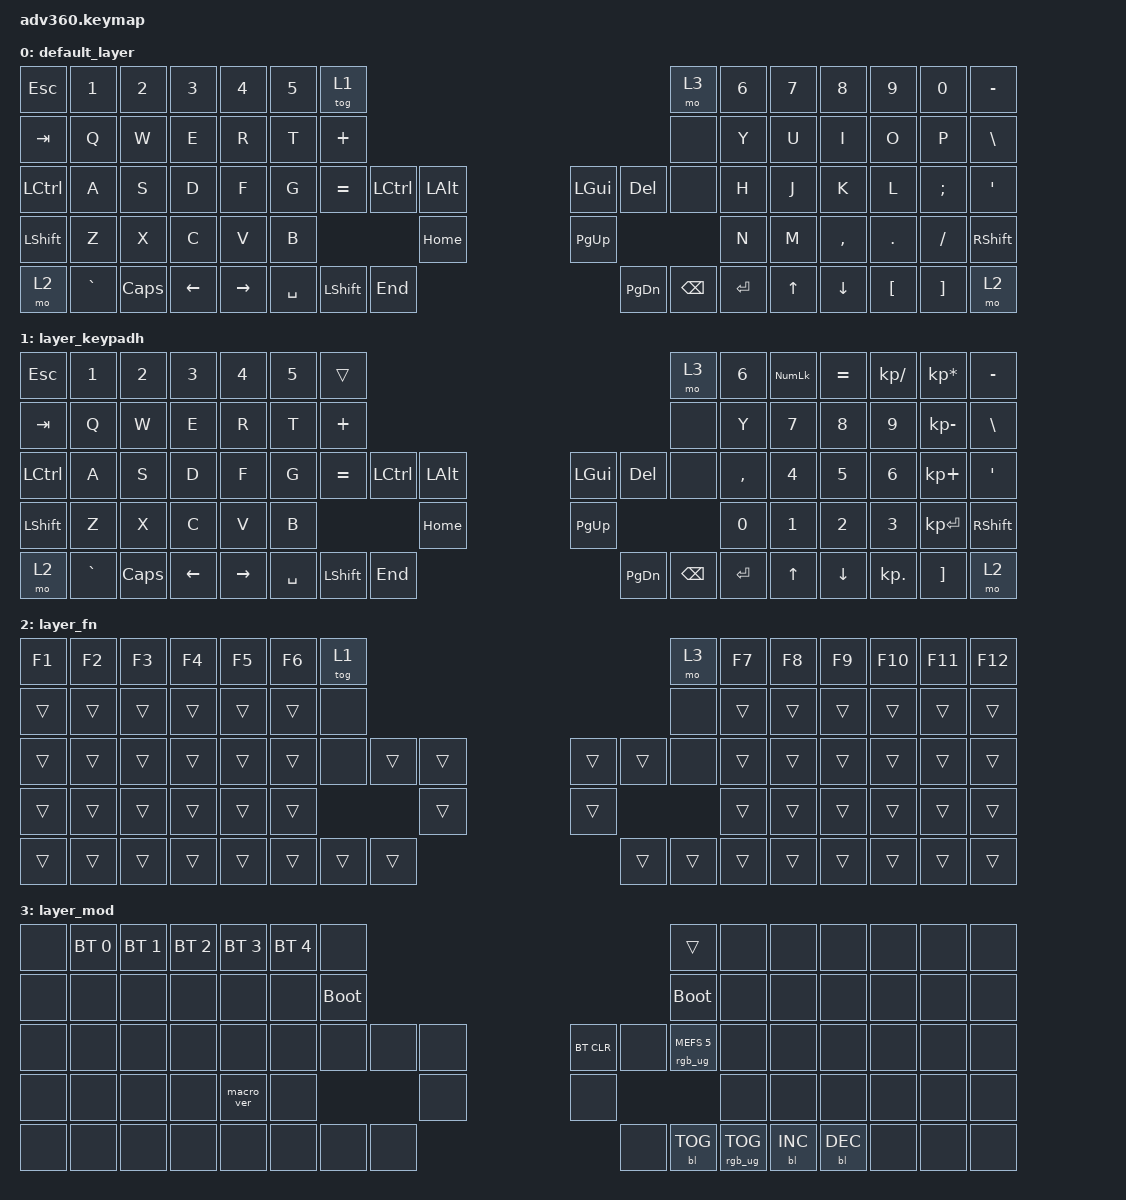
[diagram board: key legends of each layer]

/*
 * Copyright (c) 2020 The ZMK Contributors
 *
 * SPDX-License-Identifier: MIT
 */


/* THIS FILE WAS GENERATED!
 *
 * This file was generated automatically. You may or may not want to
 * edit it directly.
 */

#include <behaviors.dtsi>
#include <dt-bindings/zmk/keys.h>
#include <dt-bindings/zmk/bt.h>
#include <dt-bindings/zmk/rgb.h>
#include <dt-bindings/zmk/backlight.h>

/ {
  behaviors {
    #include "macros.dtsi"
    #include "version.dtsi"

    hm: homerow_mods {
        compatible = "zmk,behavior-hold-tap";
        label = "HOMEROW_MODS";
        #binding-cells = <2>;
        tapping-term-ms = <200>;
        quick_tap_ms = <175>;
        flavor = "tap-preferred";
        bindings = <&kp>, <&kp>;
    };
  };

    keymap {
        compatible = "zmk,keymap";


        default_layer {
            bindings = <
 &kp ESCAPE     &kp N1    &kp N2    &kp N3     &kp N4  &kp N5               &tog 1                                                                          &mo 3  &kp N6  &kp N7     &kp N8    &kp N9    &kp N0  &kp MINUS
    &kp TAB      &kp Q     &kp W     &kp E      &kp R   &kp T             &kp PLUS                                                                          &none   &kp Y   &kp U      &kp I     &kp O     &kp P   &kp BSLH
  &kp LCTRL      &kp A     &kp S     &kp D      &kp F   &kp G            &kp EQUAL       &kp LCTRL  &kp LALT                   &kp LGUI        &kp DEL      &none   &kp H   &kp J      &kp K     &kp L  &kp SEMI    &kp SQT
  &kp LSHFT      &kp Z     &kp X     &kp C      &kp V   &kp B                                       &kp HOME                  &kp PG_UP                             &kp N   &kp M  &kp COMMA   &kp DOT  &kp FSLH  &kp RSHFT
      &mo 2  &kp GRAVE  &kp CAPS  &kp LEFT  &kp RIGHT                    &kp SPACE  &kp LEFT_SHIFT   &kp END                  &kp PG_DN  &kp BACKSPACE  &kp ENTER          &kp UP   &kp DOWN  &kp LBKT  &kp RBKT      &mo 2
            >;
        };

        layer_keypadh {
            bindings = <
 &kp ESCAPE     &kp N1    &kp N2    &kp N3     &kp N4  &kp N5               &trans                                                                          &mo 3        &kp N6  &kp KP_NUMLOCK     &kp EQUAL  &kp KP_DIVIDE  &kp KP_MULTIPLY  &kp MINUS
    &kp TAB      &kp Q     &kp W     &kp E      &kp R   &kp T             &kp PLUS                                                                          &none         &kp Y    &kp NUMBER_7  &kp NUMBER_8   &kp NUMBER_9     &kp KP_MINUS   &kp BSLH
  &kp LCTRL      &kp A     &kp S     &kp D      &kp F   &kp G            &kp EQUAL       &kp LCTRL  &kp LALT                   &kp LGUI        &kp DEL      &none     &kp COMMA    &kp NUMBER_4  &kp NUMBER_5   &kp NUMBER_6      &kp KP_PLUS    &kp SQT
  &kp LSHFT      &kp Z     &kp X     &kp C      &kp V   &kp B                                       &kp HOME                  &kp PG_UP                            &kp NUMBER_0    &kp NUMBER_1  &kp NUMBER_2   &kp NUMBER_3     &kp KP_ENTER  &kp RSHFT
      &mo 2  &kp GRAVE  &kp CAPS  &kp LEFT  &kp RIGHT                    &kp SPACE  &kp LEFT_SHIFT   &kp END                  &kp PG_DN  &kp BACKSPACE  &kp ENTER                        &kp UP      &kp DOWN     &kp KP_DOT         &kp RBKT      &mo 2
            >;
        };

        layer_fn {
            bindings = <
 &kp F1  &kp F2  &kp F3  &kp F4  &kp F5  &kp F6            &tog 1                                                   &mo 3  &kp F7  &kp F8  &kp F9  &kp F10  &kp F11  &kp F12
 &trans  &trans  &trans  &trans  &trans  &trans             &none                                                   &none  &trans  &trans  &trans   &trans   &trans   &trans
 &trans  &trans  &trans  &trans  &trans  &trans             &none  &trans  &trans                  &trans  &trans   &none  &trans  &trans  &trans   &trans   &trans   &trans
 &trans  &trans  &trans  &trans  &trans  &trans                            &trans                  &trans                  &trans  &trans  &trans   &trans   &trans   &trans
 &trans  &trans  &trans  &trans  &trans                    &trans  &trans  &trans                  &trans  &trans  &trans          &trans  &trans   &trans   &trans   &trans
            >;
        };

        layer_mod {
            bindings = <
  &none  &bt BT_SEL 0  &bt BT_SEL 1  &bt BT_SEL 2  &bt BT_SEL 3  &bt BT_SEL 4                  &none                                                                          &trans   &none       &none       &none   &none   &none   &none
  &none         &none         &none         &none         &none         &none            &bootloader                                                                     &bootloader   &none       &none       &none   &none   &none   &none
  &none         &none         &none         &none         &none         &none                  &none   &none   &none                  &bt BT_CLR       &none  &rgb_ug RGB_MEFS_CMD 5   &none       &none       &none   &none   &none   &none
  &none         &none         &none         &none    &macro_ver         &none                                  &none                       &none                                       &none       &none       &none   &none   &none   &none
  &none         &none         &none         &none         &none                                &none   &none   &none                       &none  &bl BL_TOG         &rgb_ug RGB_TOG          &bl BL_INC  &bl BL_DEC   &none   &none   &none
            >;
        };

    };
};
